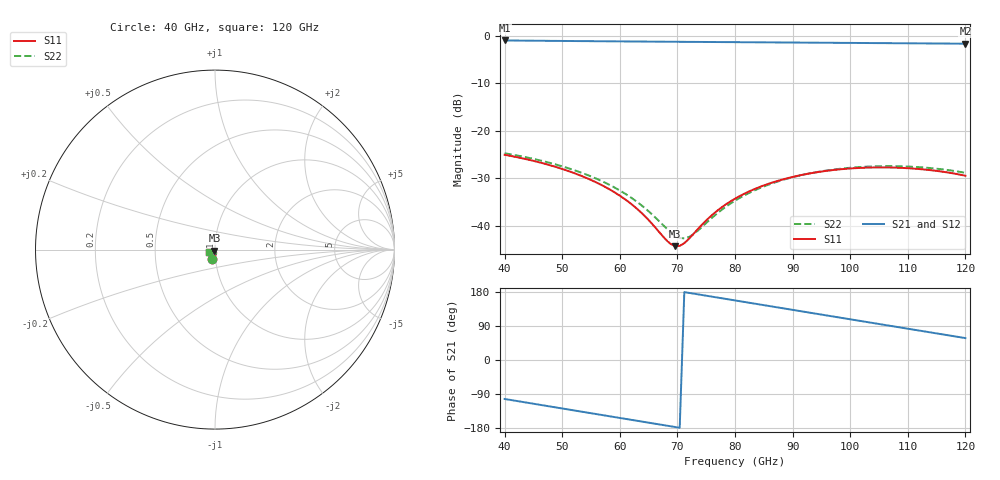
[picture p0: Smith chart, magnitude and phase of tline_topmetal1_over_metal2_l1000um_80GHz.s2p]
#  GHZ S DB R 50
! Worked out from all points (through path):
!   101 points, 40 GHz to 120 GHz, reference 50 ohm
!   highest |S21| = -0.99 dB at 40 GHz (marker M1); lowest = -1.7 dB at 120 GHz (marker M2)
!   group delay of S21, straight-line fit = 6.92 ps
!   lowest |S11| = -44.3 dB at 69.6 GHz (marker M3), VSWR 1.01, Z = 49.7 - j0.532 ohm
!   |S11| at or under -10 dB: start of sweep to end of sweep
!   |S22| runs from -42.7 to -24.8 dB; largest |S21 - S12| = 0
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40  -25.08 -109.9  -0.99 -102.8  -0.99 -102.8  -24.76 -109.6
46.4  -26.79 -127.8  -1.06 -118.9  -1.06 -118.9  -26.33 -127.3
53.6  -29.66 -146.1  -1.13 -136.9  -1.13 -136.9  -28.97 -145.3
57.6  -31.94 -154.5  -1.17 -146.9  -1.17 -146.9  -31.04 -153.6
61.6  -35.08 -159.8  -1.21 -156.9  -1.21 -156.9  -33.81 -159.0
64  -37.59 -159.5  -1.23 -162.9  -1.23 -162.9  -35.95 -159.5
67.2  -41.87 -147.3  -1.25 -170.9  -1.25 -170.9  -39.51 -152.0
68.8  -43.85 -130.1  -1.27 -174.9  -1.27 -174.9  -41.37 -141.3
69.6  -44.33 -118.3  -1.27 -176.8  -1.27 -176.8  -42.12 -133.4
70.4  -44.27 -105.9  -1.28 -178.8  -1.28 -178.8  -42.59 -124.0
71.2  -43.69 -94.7  -1.29 179.2  -1.29 179.2  -42.70 -113.8
72  -42.79 -85.7  -1.29 177.2  -1.29 177.2  -42.41 -104.0
73.6  -40.66 -74.4  -1.30 173.2  -1.30 173.2  -41.01 -88.7
76  -37.79 -68.3  -1.32 167.2  -1.32 167.2  -38.35 -77.2
80  -34.33 -69.6  -1.35 157.2  -1.35 157.2  -34.75 -74.3
83.2  -32.40 -74.5  -1.38 149.3  -1.38 149.3  -32.68 -77.6
86.4  -30.96 -80.8  -1.40 141.3  -1.40 141.3  -31.13 -82.8
93.6  -28.87 -97.1  -1.46 123.4  -1.46 123.4  -28.85 -97.7
100.8  -27.90 -114.4  -1.52 105.4  -1.52 105.4  -27.73 -114.1
107.2  -27.77 -129.9  -1.57 89.5  -1.57 89.5  -27.47 -128.9
113.6  -28.27 -145.1  -1.62 73.7  -1.62 73.7  -27.84 -143.3
120  -29.49 -159.6  -1.67 57.8  -1.67 57.8  -28.88 -157.0
